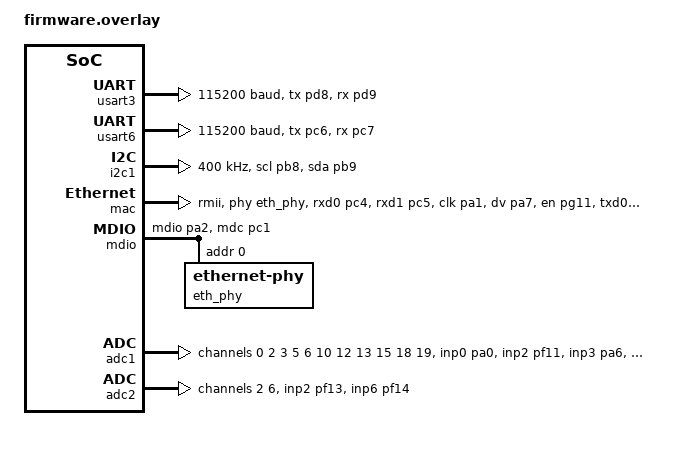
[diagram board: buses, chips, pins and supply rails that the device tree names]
&usart3 {
    current-speed = <115200>;
    pinctrl-0 = <&usart3_tx_pd8 &usart3_rx_pd9>;
    pinctrl-names = "default";
};

&usart6 {
    current-speed = <115200>;
    pinctrl-0 = <&usart6_tx_pc6 &usart6_rx_pc7>;
    pinctrl-names = "default";
};

&i2c1 {
    clock-frequency = <I2C_BITRATE_FAST>;
    pinctrl-0 = <&i2c1_scl_pb8 &i2c1_sda_pb9>;
    pinctrl-names = "default";
};

&mac {
    pinctrl-0 = <&eth_rxd0_pc4
                 &eth_rxd1_pc5
                 &eth_ref_clk_pa1
                 &eth_crs_dv_pa7
                 &eth_tx_en_pg11
                 &eth_txd0_pg13
                 &eth_txd1_pb15>;
    pinctrl-names = "default";
    phy-connection-type = "rmii";
    phy-handle = <&eth_phy>;
};

&mdio {
    pinctrl-0 = <&eth_mdio_pa2 &eth_mdc_pc1>;
    pinctrl-names = "default";

    eth_phy: ethernet-phy@0 {
        compatible = "ethernet-phy";
        reg = <0x00>;
    };
};

&adc1 {
    pinctrl-0 = <&adc1_inp0_pa0
                 &adc1_inp2_pf11
                 &adc1_inp3_pa6
                 &adc1_inp5_pb1
                 &adc1_inp6_pf12
                 &adc1_inp10_pc0
                 &adc1_inp12_pc2
                 &adc1_inp13_pc3
                 &adc1_inp15_pa3
                 &adc1_inp18_pa4
                 &adc1_inp19_pa5>;
    pinctrl-names = "default";
    st,adc-clock-source = "ASYNC";
    st,adc-prescaler = <6>;
    status = "okay";

    #address-cells = <1>;
    #size-cells = <0>;

    channel@0 {
        reg = <0>;
        zephyr,gain = "ADC_GAIN_1";
        zephyr,reference = "ADC_REF_INTERNAL";
        zephyr,acquisition-time = <ADC_ACQ_TIME_DEFAULT>;
        zephyr,resolution = <12>;
    };

    channel@2 {
        reg = <2>;
        zephyr,gain = "ADC_GAIN_1";
        zephyr,reference = "ADC_REF_INTERNAL";
        zephyr,acquisition-time = <ADC_ACQ_TIME_DEFAULT>;
        zephyr,resolution = <12>;
    };

    channel@3 {
        reg = <3>;
        zephyr,gain = "ADC_GAIN_1";
        zephyr,reference = "ADC_REF_INTERNAL";
        zephyr,acquisition-time = <ADC_ACQ_TIME_DEFAULT>;
        zephyr,resolution = <12>;
    };

    channel@5 {
        reg = <5>;
        zephyr,gain = "ADC_GAIN_1";
        zephyr,reference = "ADC_REF_INTERNAL";
        zephyr,acquisition-time = <ADC_ACQ_TIME_DEFAULT>;
        zephyr,resolution = <12>;
    };

    channel@6 {
        reg = <6>;
        zephyr,gain = "ADC_GAIN_1";
        zephyr,reference = "ADC_REF_INTERNAL";
        zephyr,acquisition-time = <ADC_ACQ_TIME_DEFAULT>;
        zephyr,resolution = <12>;
    };

    channel@a {
        reg = <10>;
        zephyr,gain = "ADC_GAIN_1";
        zephyr,reference = "ADC_REF_INTERNAL";
        zephyr,acquisition-time = <ADC_ACQ_TIME_DEFAULT>;
        zephyr,resolution = <12>;
    };

    channel@c {
        reg = <12>;
        zephyr,gain = "ADC_GAIN_1";
        zephyr,reference = "ADC_REF_INTERNAL";
        zephyr,acquisition-time = <ADC_ACQ_TIME_DEFAULT>;
        zephyr,resolution = <12>;
    };

    channel@d {
        reg = <13>;
        zephyr,gain = "ADC_GAIN_1";
        zephyr,reference = "ADC_REF_INTERNAL";
        zephyr,acquisition-time = <ADC_ACQ_TIME_DEFAULT>;
        zephyr,resolution = <12>;
    };

    channel@f {
        reg = <15>;
        zephyr,gain = "ADC_GAIN_1";
        zephyr,reference = "ADC_REF_INTERNAL";
        zephyr,acquisition-time = <ADC_ACQ_TIME_DEFAULT>;
        zephyr,resolution = <12>;
    };

    channel@12 {
        reg = <18>;
        zephyr,gain = "ADC_GAIN_1";
        zephyr,reference = "ADC_REF_INTERNAL";
        zephyr,acquisition-time = <ADC_ACQ_TIME_DEFAULT>;
        zephyr,resolution = <12>;
    };

    channel@13 {
        reg = <19>;
        zephyr,gain = "ADC_GAIN_1";
        zephyr,reference = "ADC_REF_INTERNAL";
        zephyr,acquisition-time = <ADC_ACQ_TIME_DEFAULT>;
        zephyr,resolution = <12>;
    };
};

&adc2 {
    pinctrl-0 = <&adc2_inp2_pf13 &adc2_inp6_pf14>;
    pinctrl-names = "default";
    st,adc-clock-source = "ASYNC";
    st,adc-prescaler = <6>;
    status = "okay";

    #address-cells = <1>;
    #size-cells = <0>;

    channel@2 {
        reg = <2>;
        zephyr,gain = "ADC_GAIN_1";
        zephyr,reference = "ADC_REF_INTERNAL";
        zephyr,acquisition-time = <ADC_ACQ_TIME_DEFAULT>;
        zephyr,resolution = <12>;
    };

    channel@6 {
        reg = <6>;
        zephyr,gain = "ADC_GAIN_1";
        zephyr,reference = "ADC_REF_INTERNAL";
        zephyr,acquisition-time = <ADC_ACQ_TIME_DEFAULT>;
        zephyr,resolution = <12>;
    };
};
